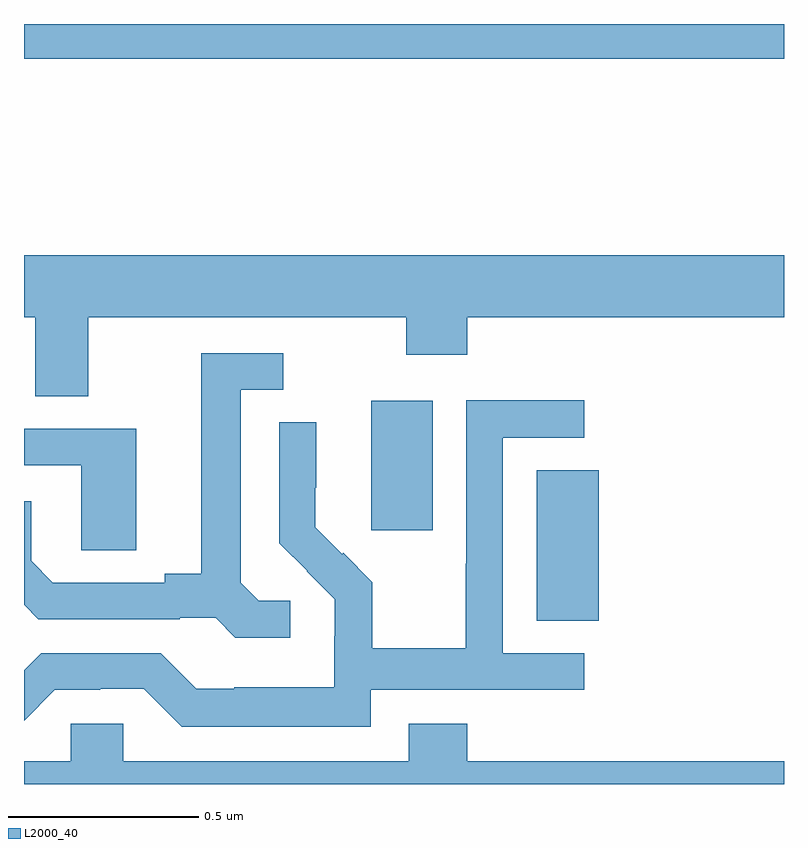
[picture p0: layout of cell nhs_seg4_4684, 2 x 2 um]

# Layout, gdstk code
import gdstk
lib = gdstk.Library(unit=1e-6, precision=1e-09)
def R(c, l, rs):  # rectangles x0, y0, x1, y1
    for r in rs: c.add(gdstk.rectangle(r[:2], r[2:], *l))
def P(c, l, *ps):  # polygons
    for p in ps: c.add(gdstk.Polygon(p, *l))
L2000_40 = (2000, 40)

nhs_seg4_4684 = lib.new_cell('nhs_seg4_4684')
R(nhs_seg4_4684, L2000_40, [(169.349,821.329,169.513,821.726), (168.914,821.568,169.075,821.908), (168,822.808,170,822.9)])
P(nhs_seg4_4684, L2000_40, [(168.169,822.128),(169.006,822.128),(169.006,822.029),(169.166,822.029),(169.166,822.128),(170,822.128),(170,822.292),(168,822.292),(168,822.128),(168.029,822.128),(168.029,821.92),(168.169,821.92)],
  [(168.7,821.382),(168.618,821.382),(168.571,821.429),(168.571,821.937),(168.682,821.937),(168.682,822.033),(168.467,822.033),(168.467,821.453),(168.371,821.453),(168.371,821.43),(168.076,821.43),(168.019,821.487),(168.019,821.644),(168,821.644),(168,821.372),(168.038,821.334),(168.41,821.334),(168.41,821.337),(168.504,821.337),(168.556,821.285),(168.7,821.285)],
  [(168.912,821.148),(169.474,821.148),(169.474,821.244),(169.26,821.244),(169.26,821.811),(169.474,821.811),(169.474,821.91),(169.164,821.91),(169.164,821.48),(169.162,821.48),(169.162,821.257),(168.917,821.257),(168.917,821.431),(168.84,821.508),(168.837,821.505),(168.767,821.576),(168.767,821.68),(168.769,821.68),(168.769,821.852),(168.672,821.852),(168.672,821.534),(168.745,821.461),(168.744,821.46),(168.818,821.386),(168.818,821.289),(168.816,821.289),(168.816,821.155),(168.553,821.155),(168.553,821.151),(168.453,821.151),(168.36,821.244),(168.045,821.244),(168,821.199),(168,821.067),(168.081,821.148),(168.2,821.148),(168.2,821.151),(168.315,821.151),(168.415,821.051),(168.912,821.051)],
  [(168.295,821.835),(168,821.835),(168,821.739),(168.15,821.739),(168.15,821.515),(168.295,821.515)],
  [(170,820.96),(169.166,820.96),(169.166,821.059),(169.013,821.059),(169.013,820.96),(168.261,820.96),(168.261,821.058),(168.123,821.058),(168.123,820.96),(168,820.96),(168,820.9),(170,820.9)])

lib.write_gds('nhs_seg4_4684.gds')
